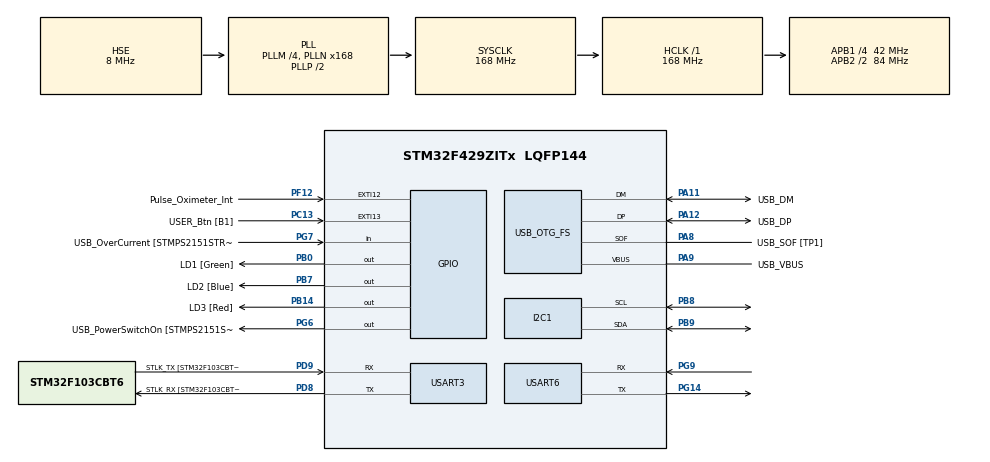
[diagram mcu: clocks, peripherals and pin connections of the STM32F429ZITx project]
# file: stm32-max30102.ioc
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Mcu.Family=STM32F4
Mcu.Name=STM32F429ZITx
Mcu.Package=LQFP144
NVIC.EXTI15_10_IRQn=true\:0\:0\:false\:false\:true\:true\:true
NVIC.PriorityGroup=NVIC_PRIORITYGROUP_4
PA1.GPIO_Label=RMII_REF_CLK [LAN8742A-CZ-TR_REFCLK0]
PA1.Signal=ETH_REF_CLK
PA10.GPIO_Label=USB_ID
PA10.Signal=USB_OTG_FS_ID
PA11.GPIO_Label=USB_DM
PA11.Mode=Device_Only
PA11.Signal=USB_OTG_FS_DM
PA12.GPIO_Label=USB_DP
PA12.Mode=Device_Only
PA12.Signal=USB_OTG_FS_DP
PA13.GPIO_Label=TMS
PA13.Mode=Serial_Wire
PA13.Signal=SYS_JTMS-SWDIO
PA14.GPIO_Label=TCK
PA14.Mode=Serial_Wire
PA14.Signal=SYS_JTCK-SWCLK
PA2.GPIO_Label=RMII_MDIO [LAN8742A-CZ-TR_MDIO]
PA2.Signal=ETH_MDIO
PA7.GPIO_Label=RMII_CRS_DV [LAN8742A-CZ-TR_CRS_DV]
PA7.Signal=ETH_CRS_DV
PA8.GPIO_Label=USB_SOF [TP1]
PA8.Mode=Activate_SOF_FS
PA8.Signal=USB_OTG_FS_SOF
PA9.GPIO_Label=USB_VBUS
PA9.Mode=Activate_VBUS
PA9.Signal=USB_OTG_FS_VBUS
PB0.GPIO_Label=LD1 [Green]
PB0.Signal=GPIO_Output
PB13.GPIO_Label=RMII_TXD1 [LAN8742A-CZ-TR_TXD1]
PB13.Signal=ETH_TXD1
PB14.GPIO_Label=LD3 [Red]
PB14.Signal=GPIO_Output
PB7.GPIO_Label=LD2 [Blue]
PB7.Signal=GPIO_Output
PB8.Mode=I2C
PB8.Signal=I2C1_SCL
PB9.Mode=I2C
PB9.Signal=I2C1_SDA
PC1.GPIO_Label=RMII_MDC [LAN8742A-CZ-TR_MDC]
PC1.Signal=ETH_MDC
PC13.GPIO_Label=USER_Btn [B1]
PC13.Signal=GPXTI13
PC14/OSC32_IN.Mode=LSE-External-Oscillator
PC14/OSC32_IN.Signal=RCC_OSC32_IN
PC15/OSC32_OUT.Mode=LSE-External-Oscillator
PC15/OSC32_OUT.Signal=RCC_OSC32_OUT
PC4.GPIO_Label=RMII_RXD0 [LAN8742A-CZ-TR_RXD0]
PC4.Signal=ETH_RXD0
PC5.GPIO_Label=RMII_RXD1 [LAN8742A-CZ-TR_RXD1]
PC5.Signal=ETH_RXD1
PD8.GPIO_Label=STLK_RX [STM32F103CBT6_PA3]
PD8.Mode=Asynchronous
PD8.Signal=USART3_TX
PD9.GPIO_Label=STLK_TX [STM32F103CBT6_PA2]
PD9.Mode=Asynchronous
PD9.Signal=USART3_RX
PF12.GPIO_Label=Pulse_Oximeter_Int
PF12.GPIO_ModeDefaultEXTI=GPIO_MODE_IT_FALLING
PF12.GPIO_PuPd=GPIO_PULLUP
PF12.Signal=GPXTI12
PG11.GPIO_Label=RMII_TX_EN [LAN8742A-CZ-TR_TXEN]
PG11.Signal=ETH_TX_EN
PG13.GPIO_Label=RMII_TXD0 [LAN8742A-CZ-TR_TXD0]
PG13.Signal=ETH_TXD0
PG14.Mode=Asynchronous
PG14.Signal=USART6_TX
PG6.GPIO_Label=USB_PowerSwitchOn [STMPS2151STR_EN]
PG6.Signal=GPIO_Output
PG7.GPIO_Label=USB_OverCurrent [STMPS2151STR_FAULT]
PG7.Signal=GPIO_Input
PG9.Mode=Asynchronous
PG9.Signal=USART6_RX
PH0/OSC_IN.GPIO_Label=MCO [STM32F103CBT6_PA8]
PH0/OSC_IN.Mode=HSE-External-Clock-Source
PH0/OSC_IN.Signal=RCC_OSC_IN
PH1/OSC_OUT.Mode=HSE-External-Clock-Source
PH1/OSC_OUT.Signal=RCC_OSC_OUT
ProjectManager.HeapSize=0x200
ProjectManager.StackSize=0x400
ProjectManager.TargetToolchain=STM32CubeIDE
RCC.48MHZClocksFreq_Value=48000000
RCC.AHBFreq_Value=168000000
RCC.APB1CLKDivider=RCC_HCLK_DIV4
RCC.APB1Freq_Value=42000000
RCC.APB1TimFreq_Value=84000000
RCC.APB2CLKDivider=RCC_HCLK_DIV2
RCC.APB2Freq_Value=84000000
RCC.APB2TimCLKDivider=2
RCC.APB2TimFreq_Value=168000000
RCC.CortexFreq_Value=168000000
RCC.HCLKFreq_Value=168000000
RCC.HSE_VALUE=8000000
RCC.HSI_VALUE=16000000
RCC.PLLM=4
RCC.PLLMUL=RCC_PLL_MUL9
RCC.PLLN=168
RCC.PLLQ=7
RCC.PRESCALERUSB=RCC_USBCLKSOURCE_PLL_DIV1_5
RCC.SYSCLKFreq_VALUE=168000000
RCC.SYSCLKSource=RCC_SYSCLKSOURCE_PLLCLK
RCC.SYSCLKSourceVirtual=RCC_SYSCLKSOURCE_PLLCLK
RCC.USBFreq_Value=48000000
RCC.VCOOutputFreq_Value=336000000
USART3.VirtualMode=VM_ASYNC
USART6.VirtualMode=VM_ASYNC
USB_OTG_FS.VirtualMode=Device_Only
board=NUCLEO-F429ZI

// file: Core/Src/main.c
/* USER CODE BEGIN Header */
/**
  ******************************************************************************
  * @file           : main.c
  * @brief          : Small sample program interfacing the MAX30102
  * 				: pulse-oximeter. Reference DataSheet
  * 				: Tested on STM32F429ZI Nucleo Board
  *
  ******************************************************************************
  * @attention
  *
  * <h2><center>&copy; Copyright (c) 2022 STMicroelectronics.
  * All rights reserved.</center></h2>
  *
  * This software component is licensed by ST under BSD 3-Clause license,
  * the "License"; You may not use this file except in compliance with the
  * License. You may obtain a copy of the License at:
  *                        opensource.org/licenses/BSD-3-Clause
  *
  ******************************************************************************
  */
/* USER CODE END Header */
#include "main.h"

/* USER CODE BEGIN Includes */
#include "string.h"
#include "uart.h"
#include "system.h"
#include "pulse_oximeter.h"

/* USER CODE END Includes */

I2C_HandleTypeDef hi2c1;

UART_HandleTypeDef huart3;
UART_HandleTypeDef huart6;

PCD_HandleTypeDef hpcd_USB_OTG_FS;

/* USER CODE BEGIN PV */
volatile uint8_t pulseOximiterIntFlag = 0;
/* USER CODE END PV */

void SystemClock_Config(void);
static void MX_GPIO_Init(void);
static void MX_USART3_UART_Init(void);
static void MX_USB_OTG_FS_PCD_Init(void);
static void MX_I2C1_Init(void);
static void MX_USART6_UART_Init(void);

int main(void)
{

  /* MCU Configuration--------------------------------------------------------*/

  /* Reset of all peripherals, Initializes the Flash interface and the Systick. */
  HAL_Init();

  /* Configure the system clock */
  SystemClock_Config();

  /* Initialize all configured peripherals */
  MX_GPIO_Init();
  MX_USART3_UART_Init();
  MX_USB_OTG_FS_PCD_Init();
  MX_I2C1_Init();
  MX_USART6_UART_Init();
  /* USER CODE BEGIN 2 */

  I2C_Init();
  uartInit();
  FIFO_LED_DATA fifoLedData;
  long currentMillis = 0;
  long lastMillis = 0;
  /* USER CODE END 2 */

  /* Infinite loop */
  /* USER CODE BEGIN WHILE */

  pulseOximeter_resetRegisters();

  // Setup up MAX30102 FIFO registers
  pulseOximeter_initFifo();

  // Set sampling rate to 100MSPS and
  // pulse width to 411us
  // See DataSheet for available
  // sampling rate/pulse width combinations
  pulseOximeter_setSampleRate(_100SPS);
  pulseOximeter_setPulseWidth(_411_US);

  // Set Red/IR Led current
  // 0 - 51mA maximum
  pulseOximeter_setLedCurrent(RED_LED, 50);
  pulseOximeter_setLedCurrent(IR_LED, 5);

  // Set FIFO registers to zero
  pulseOximeter_resetFifo();

  // Set the Measurement Mode
  // Measurement Modes:
  // HEART_RATE - only Red Led active
  // SPO2 - Both IR & Red Led active
  // MULTI_LED - Both led's active (timing can be configured; see DataSheet)
  pulseOximeter_setMeasurementMode(SPO2);

  currentMillis = millis();

  while (1)
  {
	  if( PUSLE_OXIMETER_INTERRUPT == 1 )
	  {
		  if( pulseOximiterIntFlag )
		  {
			  pulseOximiterIntFlag = 0;

			  // Read FIFO LED Data
			  fifoLedData = pulseOximeter_readFifo();

			  // Get BPM/SpO2 readings
			  pulseOximeter = pulseOximeter_update(fifoLedData);

			  pulseOximeter_clearInterrupt();
		  }

	  }else{

		  // Read FIFO LED Data
		  fifoLedData = pulseOximeter_readFifo();

		  // Get BPM/SpO2 readings
		  pulseOximeter = pulseOximeter_update(fifoLedData);

		  pulseOximeter_resetFifo();

		  // Small delay
		  HAL_Delay(10);
	  }

	  // Display the data over the built in USB
	  // If available; check board specs
	  // use terminal program and set BAUD = 115200
	  currentMillis = millis();
	  if( currentMillis - lastMillis > 1000 )
	  {
		  pulseOximeter_displayData();
		  lastMillis = currentMillis;
	  }

    /* USER CODE END WHILE */

  }
}

void SystemClock_Config(void)
{
  RCC_OscInitTypeDef RCC_OscInitStruct = {0};
  RCC_ClkInitTypeDef RCC_ClkInitStruct = {0};

  /** Configure the main internal regulator output voltage
  */
  __HAL_RCC_PWR_CLK_ENABLE();
  __HAL_PWR_VOLTAGESCALING_CONFIG(PWR_REGULATOR_VOLTAGE_SCALE1);
  /** Initializes the RCC Oscillators according to the specified parameters
  * in the RCC_OscInitTypeDef structure.
  */
  RCC_OscInitStruct.OscillatorType = RCC_OSCILLATORTYPE_HSE;
  RCC_OscInitStruct.HSEState = RCC_HSE_BYPASS;
  RCC_OscInitStruct.PLL.PLLState = RCC_PLL_ON;
  RCC_OscInitStruct.PLL.PLLSource = RCC_PLLSOURCE_HSE;
  RCC_OscInitStruct.PLL.PLLM = 4;
  RCC_OscInitStruct.PLL.PLLN = 168;
  RCC_OscInitStruct.PLL.PLLP = RCC_PLLP_DIV2;
  RCC_OscInitStruct.PLL.PLLQ = 7;
  if (HAL_RCC_OscConfig(&RCC_OscInitStruct) != HAL_OK)
  {
    Error_Handler();
  }
  /** Initializes the CPU, AHB and APB buses clocks
  */
  RCC_ClkInitStruct.ClockType = RCC_CLOCKTYPE_HCLK|RCC_CLOCKTYPE_SYSCLK
                              |RCC_CLOCKTYPE_PCLK1|RCC_CLOCKTYPE_PCLK2;
  RCC_ClkInitStruct.SYSCLKSource = RCC_SYSCLKSOURCE_PLLCLK;
  RCC_ClkInitStruct.AHBCLKDivider = RCC_SYSCLK_DIV1;
  RCC_ClkInitStruct.APB1CLKDivider = RCC_HCLK_DIV4;
  RCC_ClkInitStruct.APB2CLKDivider = RCC_HCLK_DIV2;

  if (HAL_RCC_ClockConfig(&RCC_ClkInitStruct, FLASH_LATENCY_5) != HAL_OK)
  {
    Error_Handler();
  }
}

static void MX_I2C1_Init(void)
{

  hi2c1.Instance = I2C1;
  hi2c1.Init.ClockSpeed = 100000;
  hi2c1.Init.DutyCycle = I2C_DUTYCYCLE_2;
  hi2c1.Init.OwnAddress1 = 0;
  hi2c1.Init.AddressingMode = I2C_ADDRESSINGMODE_7BIT;
  hi2c1.Init.DualAddressMode = I2C_DUALADDRESS_DISABLE;
  hi2c1.Init.OwnAddress2 = 0;
  hi2c1.Init.GeneralCallMode = I2C_GENERALCALL_DISABLE;
  hi2c1.Init.NoStretchMode = I2C_NOSTRETCH_DISABLE;
  if (HAL_I2C_Init(&hi2c1) != HAL_OK)
  {
    Error_Handler();
  }
  /** Configure Analogue filter
  */
  if (HAL_I2CEx_ConfigAnalogFilter(&hi2c1, I2C_ANALOGFILTER_ENABLE) != HAL_OK)
  {
    Error_Handler();
  }
  /** Configure Digital filter
  */
  if (HAL_I2CEx_ConfigDigitalFilter(&hi2c1, 0) != HAL_OK)
  {
    Error_Handler();
  }

}

static void MX_USART3_UART_Init(void)
{

  huart3.Instance = USART3;
  huart3.Init.BaudRate = 115200;
  huart3.Init.WordLength = UART_WORDLENGTH_8B;
  huart3.Init.StopBits = UART_STOPBITS_1;
  huart3.Init.Parity = UART_PARITY_NONE;
  huart3.Init.Mode = UART_MODE_TX_RX;
  huart3.Init.HwFlowCtl = UART_HWCONTROL_NONE;
  huart3.Init.OverSampling = UART_OVERSAMPLING_16;
  if (HAL_UART_Init(&huart3) != HAL_OK)
  {
    Error_Handler();
  }

}

static void MX_USART6_UART_Init(void)
{

  huart6.Instance = USART6;
  huart6.Init.BaudRate = 115200;
  huart6.Init.WordLength = UART_WORDLENGTH_8B;
  huart6.Init.StopBits = UART_STOPBITS_1;
  huart6.Init.Parity = UART_PARITY_NONE;
  huart6.Init.Mode = UART_MODE_TX_RX;
  huart6.Init.HwFlowCtl = UART_HWCONTROL_NONE;
  huart6.Init.OverSampling = UART_OVERSAMPLING_16;
  if (HAL_UART_Init(&huart6) != HAL_OK)
  {
    Error_Handler();
  }

}

static void MX_USB_OTG_FS_PCD_Init(void)
{

  hpcd_USB_OTG_FS.Instance = USB_OTG_FS;
  hpcd_USB_OTG_FS.Init.dev_endpoints = 4;
  hpcd_USB_OTG_FS.Init.speed = PCD_SPEED_FULL;
  hpcd_USB_OTG_FS.Init.dma_enable = DISABLE;
  hpcd_USB_OTG_FS.Init.phy_itface = PCD_PHY_EMBEDDED;
  hpcd_USB_OTG_FS.Init.Sof_enable = ENABLE;
  hpcd_USB_OTG_FS.Init.low_power_enable = DISABLE;
  hpcd_USB_OTG_FS.Init.lpm_enable = DISABLE;
  hpcd_USB_OTG_FS.Init.vbus_sensing_enable = ENABLE;
  hpcd_USB_OTG_FS.Init.use_dedicated_ep1 = DISABLE;
  if (HAL_PCD_Init(&hpcd_USB_OTG_FS) != HAL_OK)
  {
    Error_Handler();
  }

}

static void MX_GPIO_Init(void)
{
  GPIO_InitTypeDef GPIO_InitStruct = {0};

  /* GPIO Ports Clock Enable */
  __HAL_RCC_GPIOC_CLK_ENABLE();
  __HAL_RCC_GPIOH_CLK_ENABLE();
  __HAL_RCC_GPIOA_CLK_ENABLE();
  __HAL_RCC_GPIOB_CLK_ENABLE();
  __HAL_RCC_GPIOF_CLK_ENABLE();
  __HAL_RCC_GPIOD_CLK_ENABLE();
  __HAL_RCC_GPIOG_CLK_ENABLE();

  /*Configure GPIO pin Output Level */
  HAL_GPIO_WritePin(GPIOB, LD1_Pin|LD3_Pin|LD2_Pin, GPIO_PIN_RESET);

  /*Configure GPIO pin Output Level */
  HAL_GPIO_WritePin(USB_PowerSwitchOn_GPIO_Port, USB_PowerSwitchOn_Pin, GPIO_PIN_RESET);

  /*Configure GPIO pin : USER_Btn_Pin */
  GPIO_InitStruct.Pin = USER_Btn_Pin;
  GPIO_InitStruct.Mode = GPIO_MODE_IT_RISING;
  GPIO_InitStruct.Pull = GPIO_NOPULL;
  HAL_GPIO_Init(USER_Btn_GPIO_Port, &GPIO_InitStruct);

  /*Configure GPIO pins : RMII_MDC_Pin RMII_RXD0_Pin RMII_RXD1_Pin */
  GPIO_InitStruct.Pin = RMII_MDC_Pin|RMII_RXD0_Pin|RMII_RXD1_Pin;
  GPIO_InitStruct.Mode = GPIO_MODE_AF_PP;
  GPIO_InitStruct.Pull = GPIO_NOPULL;
  GPIO_InitStruct.Speed = GPIO_SPEED_FREQ_VERY_HIGH;
  GPIO_InitStruct.Alternate = GPIO_AF11_ETH;
  HAL_GPIO_Init(GPIOC, &GPIO_InitStruct);

  /*Configure GPIO pins : RMII_REF_CLK_Pin RMII_MDIO_Pin RMII_CRS_DV_Pin */
  GPIO_InitStruct.Pin = RMII_REF_CLK_Pin|RMII_MDIO_Pin|RMII_CRS_DV_Pin;
  GPIO_InitStruct.Mode = GPIO_MODE_AF_PP;
  GPIO_InitStruct.Pull = GPIO_NOPULL;
  GPIO_InitStruct.Speed = GPIO_SPEED_FREQ_VERY_HIGH;
  GPIO_InitStruct.Alternate = GPIO_AF11_ETH;
  HAL_GPIO_Init(GPIOA, &GPIO_InitStruct);

  /*Configure GPIO pins : LD1_Pin LD3_Pin LD2_Pin */
  GPIO_InitStruct.Pin = LD1_Pin|LD3_Pin|LD2_Pin;
  GPIO_InitStruct.Mode = GPIO_MODE_OUTPUT_PP;
  GPIO_InitStruct.Pull = GPIO_NOPULL;
  GPIO_InitStruct.Speed = GPIO_SPEED_FREQ_LOW;
  HAL_GPIO_Init(GPIOB, &GPIO_InitStruct);

  /*Configure GPIO pin : Pulse_Oximeter_Int_Pin */
  GPIO_InitStruct.Pin = Pulse_Oximeter_Int_Pin;
  GPIO_InitStruct.Mode = GPIO_MODE_IT_FALLING;
  GPIO_InitStruct.Pull = GPIO_PULLUP;
  HAL_GPIO_Init(Pulse_Oximeter_Int_GPIO_Port, &GPIO_InitStruct);

  /*Configure GPIO pin : RMII_TXD1_Pin */
  GPIO_InitStruct.Pin = RMII_TXD1_Pin;
  GPIO_InitStruct.Mode = GPIO_MODE_AF_PP;
  GPIO_InitStruct.Pull = GPIO_NOPULL;
  GPIO_InitStruct.Speed = GPIO_SPEED_FREQ_VERY_HIGH;
  GPIO_InitStruct.Alternate = GPIO_AF11_ETH;
  HAL_GPIO_Init(RMII_TXD1_GPIO_Port, &GPIO_InitStruct);

  /*Configure GPIO pin : USB_PowerSwitchOn_Pin */
  GPIO_InitStruct.Pin = USB_PowerSwitchOn_Pin;
  GPIO_InitStruct.Mode = GPIO_MODE_OUTPUT_PP;
  GPIO_InitStruct.Pull = GPIO_NOPULL;
  GPIO_InitStruct.Speed = GPIO_SPEED_FREQ_LOW;
  HAL_GPIO_Init(USB_PowerSwitchOn_GPIO_Port, &GPIO_InitStruct);

  /*Configure GPIO pin : USB_OverCurrent_Pin */
  GPIO_InitStruct.Pin = USB_OverCurrent_Pin;
  GPIO_InitStruct.Mode = GPIO_MODE_INPUT;
  GPIO_InitStruct.Pull = GPIO_NOPULL;
  HAL_GPIO_Init(USB_OverCurrent_GPIO_Port, &GPIO_InitStruct);

  /*Configure GPIO pins : RMII_TX_EN_Pin RMII_TXD0_Pin */
  GPIO_InitStruct.Pin = RMII_TX_EN_Pin|RMII_TXD0_Pin;
  GPIO_InitStruct.Mode = GPIO_MODE_AF_PP;
  GPIO_InitStruct.Pull = GPIO_NOPULL;
  GPIO_InitStruct.Speed = GPIO_SPEED_FREQ_VERY_HIGH;
  GPIO_InitStruct.Alternate = GPIO_AF11_ETH;
  HAL_GPIO_Init(GPIOG, &GPIO_InitStruct);

  /* EXTI interrupt init*/
  HAL_NVIC_SetPriority(EXTI15_10_IRQn, 0, 0);
  HAL_NVIC_EnableIRQ(EXTI15_10_IRQn);

}

/* USER CODE BEGIN 4 */
void HAL_GPIO_EXTI_Callback(uint16_t GPIO_Pin)
{
	if(GPIO_Pin == Pulse_Oximeter_Int_Pin)
	{
		pulseOximiterIntFlag = 1;

		//spO2_registerDump();
	}
}

/* USER CODE END 4 */

void Error_Handler(void)
{
  __disable_irq();
  while (1)
  {
  }
}

/************************ (C) COPYRIGHT STMicroelectronics *****END OF FILE****/
